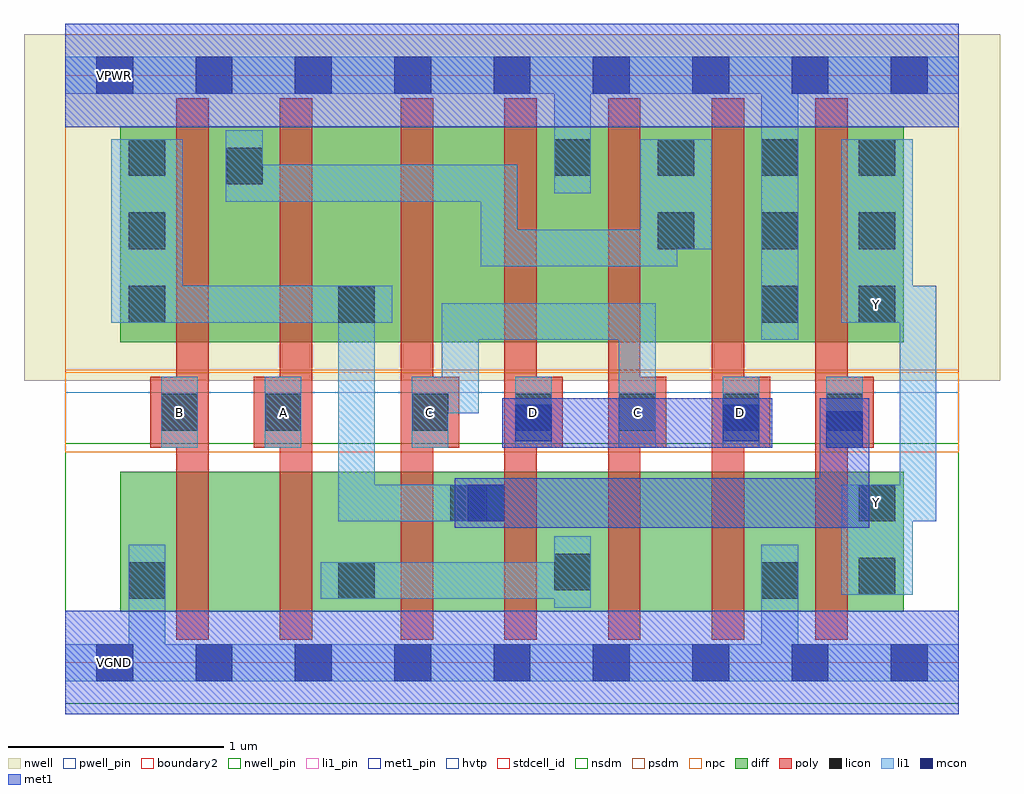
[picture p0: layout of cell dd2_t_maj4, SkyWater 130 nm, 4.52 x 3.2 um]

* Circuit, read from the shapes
.subckt dd2_t_maj4 A B C D VGND VNB VPB VPWR Y
XM1 n1 B VGND VNB sky130_fd_pr__nfet_01v8 w=0.65 l=0.15
XM2 n2 A n1 VNB sky130_fd_pr__nfet_01v8 w=0.65 l=0.15
XM3 n3 C n2 VNB sky130_fd_pr__nfet_01v8 w=0.65 l=0.15
XM4 n2 D n3 VNB sky130_fd_pr__nfet_01v8 w=0.65 l=0.15
XM5 n4 C n2 VNB sky130_fd_pr__nfet_01v8 w=0.65 l=0.15
XM6 VGND D n4 VNB sky130_fd_pr__nfet_01v8 w=0.65 l=0.15
XM7 Y n3 VGND VNB sky130_fd_pr__nfet_01v8 w=0.65 l=0.15
XM8 n5 B n3 VPB sky130_fd_pr__pfet_01v8_hvt w=1 l=0.15
XM9 n3 A n5 VPB sky130_fd_pr__pfet_01v8_hvt w=1 l=0.15
XM10 n6 C n3 VPB sky130_fd_pr__pfet_01v8_hvt w=1 l=0.15
XM11 VPWR D n6 VPB sky130_fd_pr__pfet_01v8_hvt w=1 l=0.15
XM12 n5 C VPWR VPB sky130_fd_pr__pfet_01v8_hvt w=1 l=0.15
XM13 VPWR D n5 VPB sky130_fd_pr__pfet_01v8_hvt w=1 l=0.15
XM14 Y n3 VPWR VPB sky130_fd_pr__pfet_01v8_hvt w=1 l=0.15
.ends

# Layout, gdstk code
import gdstk
lib = gdstk.Library(unit=1e-6, precision=1e-09)
def R(c, l, rs):  # rectangles x0, y0, x1, y1
    for r in rs: c.add(gdstk.rectangle(r[:2], r[2:], *l))
def A(c, l, x, y, w, h, nx, ny, dx, dy):  # array of equal rectangles
    R(c, l, [(x+i*dx, y+j*dy, x+i*dx+w, y+j*dy+h) for i in range(nx) for j in range(ny)])
nwell_pin = (64, 16)
nwell = (64, 20)
diff = (65, 20)
poly = (66, 20)
licon = (66, 44)
li1_pin = (67, 16)
li1 = (67, 20)
mcon = (67, 44)
met1_pin = (68, 16)
met1 = (68, 20)
hvtp = (78, 44)
stdcell_id = (81, 4)
nsdm = (93, 44)
psdm = (94, 20)
npc = (95, 20)
pwell_pin = (122, 16)
boundary2 = (236, 0)

dd2_t_maj4 = lib.new_cell('dd2_t_maj4')
R(dd2_t_maj4, nwell_pin, [(0.145,2.635,0.315,2.805)])
R(dd2_t_maj4, nwell, [(-0.19,1.305,4.33,2.91)])
A(dd2_t_maj4, diff, 1.87, 0.235, 0.48, 0.65, 3, 1, 0.48, 0)
A(dd2_t_maj4, diff, 1.87, 1.485, 0.48, 1, 3, 1, 0.48, 0)
R(dd2_t_maj4, diff, [(0.255,0.235,0.83,0.885), (0.83,0.235,1.35,0.885), (1.35,0.235,1.87,0.885), (3.31,0.235,3.885,0.885), (0.255,1.485,0.83,2.485), (0.83,1.485,1.35,2.485), (1.35,1.485,1.87,2.485), (3.31,1.485,3.885,2.485)])
A(dd2_t_maj4, poly, 1.555, 0.105, 0.15, 2.51, 5, 1, 0.48, 0)
A(dd2_t_maj4, poly, 1.555, 0.995, 0.27, 0.33, 5, 1, 0.48, 0)
R(dd2_t_maj4, poly, [(0.515,0.105,0.665,2.615), (0.995,0.105,1.145,2.615), (0.395,0.995,0.665,1.325), (0.875,0.995,1.145,1.325)])
A(dd2_t_maj4, licon, 1.605, 1.075, 0.17, 0.17, 5, 1, 0.48, 0)
A(dd2_t_maj4, licon, 0.295, 1.575, 0.17, 0.17, 1, 3, 0, 0.34)
A(dd2_t_maj4, licon, 3.675, 1.575, 0.17, 0.17, 1, 3, 0, 0.34)
A(dd2_t_maj4, licon, 2.265, 2.255, 0.17, 0.17, 3, 1, 0.48, 0)
R(dd2_t_maj4, licon, [(0.295,0.295,0.465,0.465), (1.265,0.295,1.435,0.465), (3.225,0.295,3.395,0.465), (3.675,0.315,3.845,0.485), (2.265,0.335,2.435,0.505), (1.785,0.655,1.955,0.825), (3.675,0.655,3.845,0.825), (0.445,1.075,0.615,1.245), (0.925,1.075,1.095,1.245), (1.265,1.575,1.435,1.745), (3.225,1.575,3.395,1.745), (2.745,1.915,2.915,2.085), (3.225,1.915,3.395,2.085), (0.745,2.215,0.915,2.385)])
A(dd2_t_maj4, li1_pin, 1.605, 1.075, 0.17, 0.17, 4, 1, 0.48, 0)
R(dd2_t_maj4, li1_pin, [(3.675,0.655,3.845,0.825), (0.445,1.075,0.615,1.245), (0.925,1.075,1.095,1.245), (3.675,1.575,3.845,1.745)])
A(dd2_t_maj4, li1, 1.605, 0.995, 0.17, 0.33, 5, 1, 0.48, 0)
R(dd2_t_maj4, li1, [(0,-0.085,4.14,0.085), (0.295,-0.085,0.465,0.545), (3.225,-0.085,3.395,0.545), (2.265,0.255,2.435,0.585), (1.185,0.295,1.515,0.465), (1.345,0.295,2.435,0.465), (3.595,0.315,3.925,0.825), (1.265,0.655,1.435,1.745), (1.265,0.655,1.875,0.825), (1.705,0.655,2.035,0.825), (3.595,0.655,3.925,0.825), (3.755,0.655,4.035,0.825), (3.865,0.655,4.035,1.745), (0.445,0.995,0.615,1.325), (0.925,0.995,1.095,1.325), (1.605,1.155,1.915,1.325), (1.745,1.155,1.915,1.665), (2.565,1.155,2.735,1.665), (1.745,1.495,2.735,1.665), (3.225,1.495,3.395,2.085), (0.215,1.575,0.545,1.745), (0.215,1.575,0.545,2.085), (0.375,1.575,1.355,1.745), (1.185,1.575,1.515,1.745), (3.595,1.575,3.925,1.745), (3.595,1.575,3.925,2.085), (3.755,1.575,4.035,1.745), (1.925,1.835,2.095,2.305), (1.925,1.835,2.835,2.005), (2.665,1.835,2.835,2.425), (3.225,1.835,3.395,2.425), (0.215,1.915,0.545,2.425), (2.665,1.915,2.995,2.425), (3.595,1.915,3.925,2.425), (1.925,2.005,2.095,2.135), (1.925,2.005,2.095,2.135), (1.925,2.005,2.095,2.135), (1.925,2.005,2.095,2.135), (3.225,2.085,3.395,2.175), (3.225,2.085,3.395,2.175), (3.225,2.085,3.395,2.175), (3.225,2.085,3.395,2.175), (0.745,2.135,0.915,2.465), (0.745,2.135,2.095,2.305), (2.265,2.175,2.435,2.805), (3.225,2.175,3.395,2.805), (2.665,2.255,2.995,2.425), (0,2.635,4.14,2.805)])
A(dd2_t_maj4, mcon, 0.145, -0.085, 0.17, 0.17, 9, 2, 0.46, 2.72)
R(dd2_t_maj4, mcon, [(1.865,0.655,2.035,0.825), (3.525,0.995,3.695,1.165), (2.085,1.025,2.255,1.195), (3.045,1.025,3.215,1.195)])
R(dd2_t_maj4, met1_pin, [(0.145,-0.085,0.315,0.085), (0.145,2.635,0.315,2.805)])
R(dd2_t_maj4, met1, [(0,-0.24,4.14,0.24), (1.805,0.625,2.095,0.855), (1.835,0.625,3.725,0.855), (3.495,0.625,3.725,1.195), (3.495,0.855,3.725,0.935), (3.495,0.855,3.725,0.935), (3.495,0.855,3.725,0.935), (3.495,0.855,3.725,0.935), (3.495,0.935,3.725,1.225), (2.025,0.995,2.315,1.225), (2.055,0.995,3.245,1.225), (2.985,0.995,3.275,1.225), (0,2.48,4.14,2.96)])
R(dd2_t_maj4, hvtp, [(0,1.25,4.14,2.72)])
R(dd2_t_maj4, stdcell_id, [(0,0,4.14,2.72)])
R(dd2_t_maj4, nsdm, [(0,-0.19,4.14,1.015)])
R(dd2_t_maj4, psdm, [(0,1.355,4.14,2.91)])
R(dd2_t_maj4, npc, [(0,0.975,4.14,1.345)])
R(dd2_t_maj4, pwell_pin, [(0.145,-0.085,0.315,0.085)])
R(dd2_t_maj4, boundary2, [(0,0,4.14,2.72)])
dd2_t_maj4.add(gdstk.Label('A', (1.01,1.16), layer=67, texttype=5))
dd2_t_maj4.add(gdstk.Label('B', (0.53,1.16), layer=67, texttype=5))
dd2_t_maj4.add(gdstk.Label('C', (1.69,1.16), layer=67, texttype=5))
dd2_t_maj4.add(gdstk.Label('C', (2.65,1.16), layer=67, texttype=5))
dd2_t_maj4.add(gdstk.Label('D', (2.17,1.16), layer=67, texttype=5))
dd2_t_maj4.add(gdstk.Label('D', (3.13,1.16), layer=67, texttype=5))
dd2_t_maj4.add(gdstk.Label('Y', (3.76,0.74), layer=67, texttype=5))
dd2_t_maj4.add(gdstk.Label('Y', (3.76,1.66), layer=67, texttype=5))
dd2_t_maj4.add(gdstk.Label('VGND', (0.23,0), layer=68, texttype=5))
dd2_t_maj4.add(gdstk.Label('VPWR', (0.23,2.72), layer=68, texttype=5))
dd2_t_maj4.add(gdstk.Label('VPB', (0.23,2.72), layer=64, texttype=5))
dd2_t_maj4.add(gdstk.Label('VNB', (0.23,0), layer=64, texttype=59))

lib.write_gds('dd2_t_maj4.gds')
